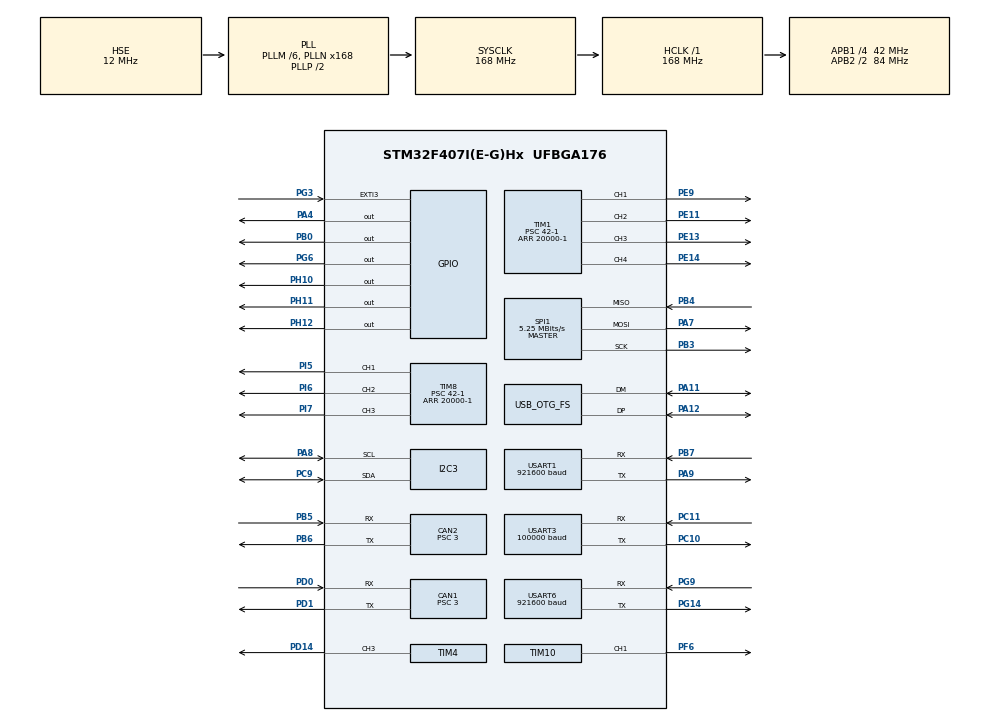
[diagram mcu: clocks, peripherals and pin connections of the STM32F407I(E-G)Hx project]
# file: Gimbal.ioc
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CAN1.BS1=CAN_BS1_10TQ
CAN1.BS2=CAN_BS2_3TQ
CAN1.CalculateBaudRate=1000000
CAN1.CalculateTimeBit=1000
CAN1.CalculateTimeQuantum=71.42857142857143
CAN1.Prescaler=3
CAN2.BS1=CAN_BS1_10TQ
CAN2.BS2=CAN_BS2_3TQ
CAN2.CalculateBaudRate=1000000
CAN2.CalculateTimeBit=1000
CAN2.CalculateTimeQuantum=71.42857142857143
CAN2.Prescaler=3
Dma.Request0=SPI1_RX
Dma.Request1=SPI1_TX
Dma.Request2=USART3_RX
Dma.Request3=USART6_RX
Dma.Request4=USART6_TX
Dma.Request5=USART1_RX
Dma.Request6=USART1_TX
Dma.SPI1_RX.0.Direction=DMA_PERIPH_TO_MEMORY
Dma.SPI1_RX.0.FIFOMode=DMA_FIFOMODE_DISABLE
Dma.SPI1_RX.0.Instance=DMA2_Stream0
Dma.SPI1_RX.0.MemDataAlignment=DMA_MDATAALIGN_BYTE
Dma.SPI1_RX.0.MemInc=DMA_MINC_ENABLE
Dma.SPI1_RX.0.Mode=DMA_NORMAL
Dma.SPI1_RX.0.PeriphDataAlignment=DMA_PDATAALIGN_BYTE
Dma.SPI1_RX.0.PeriphInc=DMA_PINC_DISABLE
Dma.SPI1_RX.0.Priority=DMA_PRIORITY_LOW
Dma.SPI1_TX.1.Direction=DMA_MEMORY_TO_PERIPH
Dma.SPI1_TX.1.FIFOMode=DMA_FIFOMODE_DISABLE
Dma.SPI1_TX.1.Instance=DMA2_Stream3
Dma.SPI1_TX.1.MemDataAlignment=DMA_MDATAALIGN_BYTE
Dma.SPI1_TX.1.MemInc=DMA_MINC_ENABLE
Dma.SPI1_TX.1.Mode=DMA_NORMAL
Dma.SPI1_TX.1.PeriphDataAlignment=DMA_PDATAALIGN_BYTE
Dma.SPI1_TX.1.PeriphInc=DMA_PINC_DISABLE
Dma.SPI1_TX.1.Priority=DMA_PRIORITY_LOW
Dma.USART1_RX.5.Direction=DMA_PERIPH_TO_MEMORY
Dma.USART1_RX.5.FIFOMode=DMA_FIFOMODE_DISABLE
Dma.USART1_RX.5.Instance=DMA2_Stream2
Dma.USART1_RX.5.MemDataAlignment=DMA_MDATAALIGN_BYTE
Dma.USART1_RX.5.MemInc=DMA_MINC_ENABLE
Dma.USART1_RX.5.Mode=DMA_NORMAL
Dma.USART1_RX.5.PeriphDataAlignment=DMA_PDATAALIGN_BYTE
Dma.USART1_RX.5.PeriphInc=DMA_PINC_DISABLE
Dma.USART1_RX.5.Priority=DMA_PRIORITY_LOW
Dma.USART1_TX.6.Direction=DMA_MEMORY_TO_PERIPH
Dma.USART1_TX.6.FIFOMode=DMA_FIFOMODE_DISABLE
Dma.USART1_TX.6.Instance=DMA2_Stream7
Dma.USART1_TX.6.MemDataAlignment=DMA_MDATAALIGN_BYTE
Dma.USART1_TX.6.MemInc=DMA_MINC_ENABLE
Dma.USART1_TX.6.Mode=DMA_NORMAL
Dma.USART1_TX.6.PeriphDataAlignment=DMA_PDATAALIGN_BYTE
Dma.USART1_TX.6.PeriphInc=DMA_PINC_DISABLE
Dma.USART1_TX.6.Priority=DMA_PRIORITY_LOW
Dma.USART3_RX.2.Direction=DMA_PERIPH_TO_MEMORY
Dma.USART3_RX.2.FIFOMode=DMA_FIFOMODE_DISABLE
Dma.USART3_RX.2.Instance=DMA1_Stream1
Dma.USART3_RX.2.MemDataAlignment=DMA_MDATAALIGN_BYTE
Dma.USART3_RX.2.MemInc=DMA_MINC_ENABLE
Dma.USART3_RX.2.Mode=DMA_CIRCULAR
Dma.USART3_RX.2.PeriphDataAlignment=DMA_PDATAALIGN_BYTE
Dma.USART3_RX.2.PeriphInc=DMA_PINC_DISABLE
Dma.USART3_RX.2.Priority=DMA_PRIORITY_VERY_HIGH
Dma.USART6_RX.3.Direction=DMA_PERIPH_TO_MEMORY
Dma.USART6_RX.3.FIFOMode=DMA_FIFOMODE_DISABLE
Dma.USART6_RX.3.Instance=DMA2_Stream1
Dma.USART6_RX.3.MemDataAlignment=DMA_MDATAALIGN_BYTE
Dma.USART6_RX.3.MemInc=DMA_MINC_ENABLE
Dma.USART6_RX.3.Mode=DMA_NORMAL
Dma.USART6_RX.3.PeriphDataAlignment=DMA_PDATAALIGN_BYTE
Dma.USART6_RX.3.PeriphInc=DMA_PINC_DISABLE
Dma.USART6_RX.3.Priority=DMA_PRIORITY_LOW
Dma.USART6_TX.4.Direction=DMA_MEMORY_TO_PERIPH
Dma.USART6_TX.4.FIFOMode=DMA_FIFOMODE_DISABLE
Dma.USART6_TX.4.Instance=DMA2_Stream6
Dma.USART6_TX.4.MemDataAlignment=DMA_MDATAALIGN_BYTE
Dma.USART6_TX.4.MemInc=DMA_MINC_ENABLE
Dma.USART6_TX.4.Mode=DMA_NORMAL
Dma.USART6_TX.4.PeriphDataAlignment=DMA_PDATAALIGN_BYTE
Dma.USART6_TX.4.PeriphInc=DMA_PINC_DISABLE
Dma.USART6_TX.4.Priority=DMA_PRIORITY_LOW
I2C3.I2C_Mode=I2C_Fast
Mcu.Family=STM32F4
Mcu.Name=STM32F407I(E-G)Hx
Mcu.Package=UFBGA176
NVIC.CAN1_RX0_IRQn=true\:0\:0\:false\:false\:true\:true\:true\:true
NVIC.CAN1_TX_IRQn=true\:0\:0\:false\:false\:true\:true\:true\:true
NVIC.CAN2_RX0_IRQn=true\:0\:0\:true\:false\:true\:true\:true\:true
NVIC.CAN2_TX_IRQn=true\:0\:0\:true\:false\:true\:true\:true\:true
NVIC.DMA1_Stream1_IRQn=true\:0\:0\:false\:false\:true\:false\:true\:true
NVIC.DMA2_Stream0_IRQn=true\:0\:0\:false\:false\:true\:false\:true\:true
NVIC.DMA2_Stream1_IRQn=true\:0\:0\:false\:false\:true\:false\:true\:true
NVIC.DMA2_Stream2_IRQn=true\:0\:0\:false\:false\:true\:false\:true\:true
NVIC.DMA2_Stream3_IRQn=true\:0\:0\:false\:false\:true\:false\:true\:true
NVIC.DMA2_Stream6_IRQn=true\:0\:0\:false\:false\:true\:false\:true\:true
NVIC.DMA2_Stream7_IRQn=true\:0\:0\:false\:false\:true\:false\:true\:true
NVIC.OTG_FS_IRQn=true\:0\:0\:false\:false\:true\:false\:true\:true
NVIC.PriorityGroup=NVIC_PRIORITYGROUP_4
NVIC.TIM2_IRQn=true\:0\:0\:true\:false\:true\:true\:true\:true
NVIC.USART1_IRQn=true\:0\:0\:false\:false\:true\:true\:true\:true
NVIC.USART3_IRQn=true\:0\:0\:true\:false\:true\:true\:true\:true
NVIC.USART6_IRQn=true\:0\:0\:false\:false\:true\:true\:true\:true
PA11.Mode=Device_Only
PA11.Signal=USB_OTG_FS_DM
PA12.Mode=Device_Only
PA12.Signal=USB_OTG_FS_DP
PA13.Mode=Serial_Wire
PA13.Signal=SYS_JTMS-SWDIO
PA14.Mode=Serial_Wire
PA14.Signal=SYS_JTCK-SWCLK
PA4.PinState=GPIO_PIN_SET
PA4.Signal=GPIO_Output
PA7.Mode=Full_Duplex_Master
PA7.Signal=SPI1_MOSI
PA8.Mode=I2C
PA8.Signal=I2C3_SCL
PA9.Mode=Asynchronous
PA9.Signal=USART1_TX
PB0.PinState=GPIO_PIN_SET
PB0.Signal=GPIO_Output
PB3.Mode=Full_Duplex_Master
PB3.Signal=SPI1_SCK
PB4.Mode=Full_Duplex_Master
PB4.Signal=SPI1_MISO
PB5.Mode=CAN_Activate
PB5.Signal=CAN2_RX
PB6.Mode=CAN_Activate
PB6.Signal=CAN2_TX
PB7.Mode=Asynchronous
PB7.Signal=USART1_RX
PC10.Mode=Asynchronous
PC10.Signal=USART3_TX
PC11.Mode=Asynchronous
PC11.Signal=USART3_RX
PC9.Mode=I2C
PC9.Signal=I2C3_SDA
PD0.Mode=CAN_Activate
PD0.Signal=CAN1_RX
PD1.Mode=CAN_Activate
PD1.Signal=CAN1_TX
PD14.Signal=S_TIM4_CH3
PE11.Signal=S_TIM1_CH2
PE13.Signal=S_TIM1_CH3
PE14.Signal=S_TIM1_CH4
PE9.Signal=S_TIM1_CH1
PF6.Signal=S_TIM10_CH1
PG14.Mode=Asynchronous
PG14.Signal=USART6_TX
PG3.GPIO_ModeDefaultEXTI=GPIO_MODE_IT_FALLING
PG3.GPIO_PuPd=GPIO_PULLUP
PG3.Signal=GPXTI3
PG6.GPIO_Speed=GPIO_SPEED_FREQ_MEDIUM
PG6.PinState=GPIO_PIN_SET
PG6.Signal=GPIO_Output
PG9.Mode=Asynchronous
PG9.Signal=USART6_RX
PH0-OSC_IN.Mode=HSE-External-Oscillator
PH0-OSC_IN.Signal=RCC_OSC_IN
PH1-OSC_OUT.Mode=HSE-External-Oscillator
PH1-OSC_OUT.Signal=RCC_OSC_OUT
PH10.PinState=GPIO_PIN_SET
PH10.Signal=GPIO_Output
PH11.PinState=GPIO_PIN_SET
PH11.Signal=GPIO_Output
PH12.PinState=GPIO_PIN_SET
PH12.Signal=GPIO_Output
PI5.Signal=S_TIM8_CH1
PI6.Signal=S_TIM8_CH2
PI7.Signal=S_TIM8_CH3
ProjectManager.HeapSize=0x4000
ProjectManager.StackSize=0x4000
ProjectManager.TargetToolchain=MDK-ARM V5
RCC.48MHZClocksFreq_Value=48000000
RCC.AHBFreq_Value=168000000
RCC.APB1CLKDivider=RCC_HCLK_DIV4
RCC.APB1Freq_Value=42000000
RCC.APB1TimFreq_Value=84000000
RCC.APB2CLKDivider=RCC_HCLK_DIV2
RCC.APB2Freq_Value=84000000
RCC.APB2TimFreq_Value=168000000
RCC.CortexFreq_Value=168000000
RCC.HCLKFreq_Value=168000000
RCC.HSE_VALUE=12000000
RCC.HSI_VALUE=16000000
RCC.LSE_VALUE=32768
RCC.PLLM=6
RCC.PLLN=168
RCC.PLLQ=7
RCC.SYSCLKFreq_VALUE=168000000
RCC.SYSCLKSource=RCC_SYSCLKSOURCE_PLLCLK
RCC.VCOOutputFreq_Value=336000000
SH.S_TIM10_CH1.0=TIM10_CH1,PWM Generation1 CH1
SH.S_TIM1_CH1.0=TIM1_CH1,PWM Generation1 CH1
SH.S_TIM1_CH2.0=TIM1_CH2,PWM Generation2 CH2
SH.S_TIM1_CH3.0=TIM1_CH3,PWM Generation3 CH3
SH.S_TIM1_CH4.0=TIM1_CH4,PWM Generation4 CH4
SH.S_TIM4_CH3.0=TIM4_CH3,PWM Generation3 CH3
SH.S_TIM8_CH1.0=TIM8_CH1,PWM Generation1 CH1
SH.S_TIM8_CH2.0=TIM8_CH2,PWM Generation2 CH2
SH.S_TIM8_CH3.0=TIM8_CH3,PWM Generation3 CH3
SPI1.BaudRatePrescaler=SPI_BAUDRATEPRESCALER_16
SPI1.CLKPhase=SPI_PHASE_2EDGE
SPI1.CLKPolarity=SPI_POLARITY_HIGH
SPI1.CalculateBaudRate=5.25 MBits/s
SPI1.Direction=SPI_DIRECTION_2LINES
SPI1.Mode=SPI_MODE_MASTER
SPI1.VirtualType=VM_MASTER
STMicroelectronics.X-CUBE-ALGOBUILD.1.4.0.LibraryCcDSPOoLibraryJjDSPOoLibrary=true
TIM1.Channel-PWM\ Generation1\ CH1=TIM_CHANNEL_1
TIM1.Channel-PWM\ Generation2\ CH2=TIM_CHANNEL_2
TIM1.Channel-PWM\ Generation3\ CH3=TIM_CHANNEL_3
TIM1.Channel-PWM\ Generation4\ CH4=TIM_CHANNEL_4
TIM1.Period=20000-1
TIM1.Prescaler=42-1
TIM1.Pulse-PWM\ Generation1\ CH1=2000
TIM1.Pulse-PWM\ Generation2\ CH2=2000
TIM1.Pulse-PWM\ Generation3\ CH3=2000
TIM1.Pulse-PWM\ Generation4\ CH4=2000
TIM10.Channel=TIM_CHANNEL_1
TIM10.Period=1000-1
TIM10.Prescaler=168-1
TIM2.AutoReloadPreload=TIM_AUTORELOAD_PRELOAD_ENABLE
TIM2.Period=1000-1
TIM2.Prescaler=84-1
TIM4.Channel-PWM\ Generation3\ CH3=TIM_CHANNEL_3
TIM4.Period=21000-1
TIM5.Period=65535
TIM8.Channel-PWM\ Generation1\ CH1=TIM_CHANNEL_1
TIM8.Channel-PWM\ Generation2\ CH2=TIM_CHANNEL_2
TIM8.Channel-PWM\ Generation3\ CH3=TIM_CHANNEL_3
TIM8.Period=20000-1
TIM8.Prescaler=42-1
TIM8.Pulse-PWM\ Generation1\ CH1=2000
TIM8.Pulse-PWM\ Generation2\ CH2=2000
USART1.BaudRate=921600
USART1.VirtualMode=VM_ASYNC
USART3.BaudRate=100000
USART3.Mode=MODE_RX
USART3.Parity=PARITY_EVEN
USART3.VirtualMode=VM_ASYNC
USART3.WordLength=WORDLENGTH_9B
USART6.BaudRate=921600
USART6.VirtualMode=VM_ASYNC
USB_DEVICE.CLASS_NAME_FS=CDC
USB_DEVICE.VirtualMode-CDC_FS=Cdc
USB_DEVICE.VirtualModeFS=Cdc_FS
USB_OTG_FS.VirtualMode=Device_Only
VP_CRC_VS_CRC.Mode=CRC_Activate
VP_STMicroelectronics.X-CUBE-ALGOBUILD_VS_DSPOoLibraryJjLibrary_1.4.0_1.4.0.Mode=DSPOoLibraryJjLibrary
VP_TIM10_VS_ClockSourceINT.Mode=Enable_Timer
VP_TIM1_VS_ClockSourceINT.Mode=Internal
VP_TIM2_VS_ClockSourceINT.Mode=Internal
VP_TIM5_VS_ClockSourceINT.Mode=Internal
VP_TIM8_VS_ClockSourceINT.Mode=Internal
VP_USB_DEVICE_VS_USB_DEVICE_CDC_FS.Mode=CDC_FS
board=custom

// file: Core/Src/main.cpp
/* USER CODE BEGIN Header */
/**
 ******************************************************************************
 * @file           : main.c
 * @brief          : Main program body
 ******************************************************************************
 * @attention
 *
 * Copyright (c) 2024 STMicroelectronics.
 * All rights reserved.
 *
 * This software is licensed under terms that can be found in the LICENSE file
 * in the root directory of this software component.
 * If no LICENSE file comes with this software, it is provided AS-IS.
 *
 ******************************************************************************
 */
/* USER CODE END Header */
#include "main.h"
#include "usb_device.h"

/* USER CODE BEGIN Includes */
#include "ChassisController.hpp"
#include "GimbalController.hpp"
#include "ShooterController.hpp"

#include "GMMotorHandler.hpp"
#include "Dr16.hpp"
#include "BoardConnectivity.hpp"
#include "BMI088.hpp"
#include "IST8310.hpp"

#include "IMU_Config.hpp"
#ifdef IMU_LIB_EKF_
#include "AHRS-EKF.hpp"
#elif defined(IMU_LIB_MOTION_FX_)
#include "AHRS-MFX.hpp"
#elif defined(IMU_LIB_ICM42688_)
#include "AHRS-ICM.hpp"
#else
#include "AHRS-MFX.hpp" // 默认实现
#endif

#include "Monitor.hpp"
#include "LED.hpp"

#include "bsp.hpp"

#include "stm32f4xx_it.h"
/* USER CODE END Includes */

CAN_HandleTypeDef hcan1;
CAN_HandleTypeDef hcan2;

CRC_HandleTypeDef hcrc;

I2C_HandleTypeDef hi2c3;

SPI_HandleTypeDef hspi1;
DMA_HandleTypeDef hdma_spi1_rx;
DMA_HandleTypeDef hdma_spi1_tx;

TIM_HandleTypeDef htim1;
TIM_HandleTypeDef htim2;
TIM_HandleTypeDef htim4;
TIM_HandleTypeDef htim5;
TIM_HandleTypeDef htim8;
TIM_HandleTypeDef htim10;

UART_HandleTypeDef huart1;
UART_HandleTypeDef huart3;
UART_HandleTypeDef huart6;
DMA_HandleTypeDef hdma_usart1_rx;
DMA_HandleTypeDef hdma_usart1_tx;
DMA_HandleTypeDef hdma_usart3_rx;
DMA_HandleTypeDef hdma_usart6_rx;
DMA_HandleTypeDef hdma_usart6_tx;

/* USER CODE BEGIN PV */
GMMotorHandler *GMmotorHandler = GMMotorHandler::instance();          // 电机控制
Dr16 *dr16 = Dr16::Instance();                                        // 靥控�?
BMI088 *bmi088 = BMI088::Instance();                                  // IMU
BoardConnectivity *boardConnectivity = BoardConnectivity::Instance(); // 板间通信
AHRS *ahrs = AHRS::Instance();                                        // 姿�?�解�?
Monitor *monitor = Monitor::Instance();                               // 监控

ChassisController *chassisController = ChassisController::Instance(); // 底盘控制
GimbalController *gimbalController = GimbalController::Instance();    // 云坰控制
ShooterController *shooterController = ShooterController::Instance(); // 坑射控制
/* USER CODE END PV */

void SystemClock_Config(void);
static void MX_GPIO_Init(void);
static void MX_DMA_Init(void);
static void MX_CAN1_Init(void);
static void MX_CAN2_Init(void);
static void MX_I2C3_Init(void);
static void MX_SPI1_Init(void);
static void MX_TIM1_Init(void);
static void MX_TIM2_Init(void);
static void MX_TIM4_Init(void);
static void MX_TIM5_Init(void);
static void MX_TIM8_Init(void);
static void MX_TIM10_Init(void);
static void MX_USART3_UART_Init(void);
static void MX_CRC_Init(void);
static void MX_USART6_UART_Init(void);
static void MX_USART1_UART_Init(void);
/* USER CODE BEGIN PFP */
void EnableSystickIT(void);
/* USER CODE END PFP */

/* USER CODE BEGIN 0 */

/**
 * @brief  使能SysTick中断
 * 将SysTick中断的频率设置为1000Hz
 */
void EnableSystickIT(void)
{
  uint32_t tick_ms = 1; // 1

  HAL_SYSTICK_CLKSourceConfig(SYSTICK_CLKSOURCE_HCLK_DIV8);

  uint32_t reload = SystemCoreClock / 8000 * tick_ms; // SystemCoreClock / 8000 * tick_ms;

  SysTick->CTRL |= SysTick_CTRL_TICKINT_Msk; // Enable SysTick Interrupt
  SysTick->LOAD = reload;
  SysTick->CTRL |= SysTick_CTRL_ENABLE_Msk; // Enable SysTick
}

/**
 * @brief  系统中断�?1ms
 * 代砝的主循环
 */
void SysTick_Handler(void)
{
  HAL_IncTick();
  // receive and update data
  // run control loop
  if (!monitor->Is_Robot_Init)
  {
    return;
  }

  dr16->Update();
  bmi088->update();

  chassisController->Run();
  gimbalController->Run();
  shooterController->Run();

  GMmotorHandler->sendControlData();
  boardConnectivity->BoardConnectivity_Send();

  monitor->Monitor_Run();
}

/* USER CODE END 0 */

int main(void)
{

  /* MCU Configuration--------------------------------------------------------*/

  /* Reset of all peripherals, Initializes the Flash interface and the Systick. */
  HAL_Init();

  /* Configure the system clock */
  SystemClock_Config();

  /* Initialize all configured peripherals */
  MX_GPIO_Init();
  MX_DMA_Init();
  MX_CAN1_Init();
  MX_CAN2_Init();
  MX_I2C3_Init();
  MX_SPI1_Init();
  MX_TIM1_Init();
  MX_TIM2_Init();
  MX_TIM4_Init();
  MX_TIM5_Init();
  MX_TIM8_Init();
  MX_TIM10_Init();
  MX_USART3_UART_Init();
  MX_CRC_Init();
  MX_USB_DEVICE_Init();
  MX_USART6_UART_Init();
  MX_USART1_UART_Init();
  /* USER CODE BEGIN 2 */
  bsp_init();

  monitor->Monitor_Init();
  bmi088->BMI088_INIT();
  // ???????????????????GimbalController???
  // ahrs->INS_Init();
  // HAL_TIM_Base_Start_IT(&htim2);

  boardConnectivity->Init();
  dr16->Dr16_Init();

  chassisController->Init();
  gimbalController->Init();
  shooterController->Init();

  EnableSystickIT(); // 使能SysTick中断
  LED_ALL_ON();
  monitor->Monitor_RobotFinishInit();
  /* USER CODE END 2 */

  /* Infinite loop */
  while (1)
  {

  }
}

void SystemClock_Config(void)
{
  RCC_OscInitTypeDef RCC_OscInitStruct = {0};
  RCC_ClkInitTypeDef RCC_ClkInitStruct = {0};

  /** Configure the main internal regulator output voltage
  */
  __HAL_RCC_PWR_CLK_ENABLE();
  __HAL_PWR_VOLTAGESCALING_CONFIG(PWR_REGULATOR_VOLTAGE_SCALE1);

  /** Initializes the RCC Oscillators according to the specified parameters
  * in the RCC_OscInitTypeDef structure.
  */
  RCC_OscInitStruct.OscillatorType = RCC_OSCILLATORTYPE_HSE;
  RCC_OscInitStruct.HSEState = RCC_HSE_ON;
  RCC_OscInitStruct.PLL.PLLState = RCC_PLL_ON;
  RCC_OscInitStruct.PLL.PLLSource = RCC_PLLSOURCE_HSE;
  RCC_OscInitStruct.PLL.PLLM = 6;
  RCC_OscInitStruct.PLL.PLLN = 168;
  RCC_OscInitStruct.PLL.PLLP = RCC_PLLP_DIV2;
  RCC_OscInitStruct.PLL.PLLQ = 7;
  if (HAL_RCC_OscConfig(&RCC_OscInitStruct) != HAL_OK)
  {
    Error_Handler();
  }

  /** Initializes the CPU, AHB and APB buses clocks
  */
  RCC_ClkInitStruct.ClockType = RCC_CLOCKTYPE_HCLK|RCC_CLOCKTYPE_SYSCLK
                              |RCC_CLOCKTYPE_PCLK1|RCC_CLOCKTYPE_PCLK2;
  RCC_ClkInitStruct.SYSCLKSource = RCC_SYSCLKSOURCE_PLLCLK;
  RCC_ClkInitStruct.AHBCLKDivider = RCC_SYSCLK_DIV1;
  RCC_ClkInitStruct.APB1CLKDivider = RCC_HCLK_DIV4;
  RCC_ClkInitStruct.APB2CLKDivider = RCC_HCLK_DIV2;

  if (HAL_RCC_ClockConfig(&RCC_ClkInitStruct, FLASH_LATENCY_5) != HAL_OK)
  {
    Error_Handler();
  }
}

static void MX_CAN1_Init(void)
{

  hcan1.Instance = CAN1;
  hcan1.Init.Prescaler = 3;
  hcan1.Init.Mode = CAN_MODE_NORMAL;
  hcan1.Init.SyncJumpWidth = CAN_SJW_1TQ;
  hcan1.Init.TimeSeg1 = CAN_BS1_10TQ;
  hcan1.Init.TimeSeg2 = CAN_BS2_3TQ;
  hcan1.Init.TimeTriggeredMode = DISABLE;
  hcan1.Init.AutoBusOff = DISABLE;
  hcan1.Init.AutoWakeUp = DISABLE;
  hcan1.Init.AutoRetransmission = DISABLE;
  hcan1.Init.ReceiveFifoLocked = DISABLE;
  hcan1.Init.TransmitFifoPriority = DISABLE;
  if (HAL_CAN_Init(&hcan1) != HAL_OK)
  {
    Error_Handler();
  }

}

static void MX_CAN2_Init(void)
{

  hcan2.Instance = CAN2;
  hcan2.Init.Prescaler = 3;
  hcan2.Init.Mode = CAN_MODE_NORMAL;
  hcan2.Init.SyncJumpWidth = CAN_SJW_1TQ;
  hcan2.Init.TimeSeg1 = CAN_BS1_10TQ;
  hcan2.Init.TimeSeg2 = CAN_BS2_3TQ;
  hcan2.Init.TimeTriggeredMode = DISABLE;
  hcan2.Init.AutoBusOff = DISABLE;
  hcan2.Init.AutoWakeUp = DISABLE;
  hcan2.Init.AutoRetransmission = DISABLE;
  hcan2.Init.ReceiveFifoLocked = DISABLE;
  hcan2.Init.TransmitFifoPriority = DISABLE;
  if (HAL_CAN_Init(&hcan2) != HAL_OK)
  {
    Error_Handler();
  }

}

static void MX_CRC_Init(void)
{

  hcrc.Instance = CRC;
  if (HAL_CRC_Init(&hcrc) != HAL_OK)
  {
    Error_Handler();
  }

}

static void MX_I2C3_Init(void)
{

  hi2c3.Instance = I2C3;
  hi2c3.Init.ClockSpeed = 400000;
  hi2c3.Init.DutyCycle = I2C_DUTYCYCLE_2;
  hi2c3.Init.OwnAddress1 = 0;
  hi2c3.Init.AddressingMode = I2C_ADDRESSINGMODE_7BIT;
  hi2c3.Init.DualAddressMode = I2C_DUALADDRESS_DISABLE;
  hi2c3.Init.OwnAddress2 = 0;
  hi2c3.Init.GeneralCallMode = I2C_GENERALCALL_DISABLE;
  hi2c3.Init.NoStretchMode = I2C_NOSTRETCH_DISABLE;
  if (HAL_I2C_Init(&hi2c3) != HAL_OK)
  {
    Error_Handler();
  }

}

static void MX_SPI1_Init(void)
{

  /* SPI1 parameter configuration*/
  hspi1.Instance = SPI1;
  hspi1.Init.Mode = SPI_MODE_MASTER;
  hspi1.Init.Direction = SPI_DIRECTION_2LINES;
  hspi1.Init.DataSize = SPI_DATASIZE_8BIT;
  hspi1.Init.CLKPolarity = SPI_POLARITY_HIGH;
  hspi1.Init.CLKPhase = SPI_PHASE_2EDGE;
  hspi1.Init.NSS = SPI_NSS_SOFT;
  hspi1.Init.BaudRatePrescaler = SPI_BAUDRATEPRESCALER_16;
  hspi1.Init.FirstBit = SPI_FIRSTBIT_MSB;
  hspi1.Init.TIMode = SPI_TIMODE_DISABLE;
  hspi1.Init.CRCCalculation = SPI_CRCCALCULATION_DISABLE;
  hspi1.Init.CRCPolynomial = 10;
  if (HAL_SPI_Init(&hspi1) != HAL_OK)
  {
    Error_Handler();
  }

}

static void MX_TIM1_Init(void)
{

  TIM_ClockConfigTypeDef sClockSourceConfig = {0};
  TIM_MasterConfigTypeDef sMasterConfig = {0};
  TIM_OC_InitTypeDef sConfigOC = {0};
  TIM_BreakDeadTimeConfigTypeDef sBreakDeadTimeConfig = {0};

  htim1.Instance = TIM1;
  htim1.Init.Prescaler = 42-1;
  htim1.Init.CounterMode = TIM_COUNTERMODE_UP;
  htim1.Init.Period = 20000-1;
  htim1.Init.ClockDivision = TIM_CLOCKDIVISION_DIV1;
  htim1.Init.RepetitionCounter = 0;
  htim1.Init.AutoReloadPreload = TIM_AUTORELOAD_PRELOAD_DISABLE;
  if (HAL_TIM_Base_Init(&htim1) != HAL_OK)
  {
    Error_Handler();
  }
  sClockSourceConfig.ClockSource = TIM_CLOCKSOURCE_INTERNAL;
  if (HAL_TIM_ConfigClockSource(&htim1, &sClockSourceConfig) != HAL_OK)
  {
    Error_Handler();
  }
  if (HAL_TIM_PWM_Init(&htim1) != HAL_OK)
  {
    Error_Handler();
  }
  sMasterConfig.MasterOutputTrigger = TIM_TRGO_RESET;
  sMasterConfig.MasterSlaveMode = TIM_MASTERSLAVEMODE_DISABLE;
  if (HAL_TIMEx_MasterConfigSynchronization(&htim1, &sMasterConfig) != HAL_OK)
  {
    Error_Handler();
  }
  sConfigOC.OCMode = TIM_OCMODE_PWM1;
  sConfigOC.Pulse = 2000;
  sConfigOC.OCPolarity = TIM_OCPOLARITY_HIGH;
  sConfigOC.OCNPolarity = TIM_OCNPOLARITY_HIGH;
  sConfigOC.OCFastMode = TIM_OCFAST_DISABLE;
  sConfigOC.OCIdleState = TIM_OCIDLESTATE_RESET;
  sConfigOC.OCNIdleState = TIM_OCNIDLESTATE_RESET;
  if (HAL_TIM_PWM_ConfigChannel(&htim1, &sConfigOC, TIM_CHANNEL_1) != HAL_OK)
  {
    Error_Handler();
  }
  if (HAL_TIM_PWM_ConfigChannel(&htim1, &sConfigOC, TIM_CHANNEL_2) != HAL_OK)
  {
    Error_Handler();
  }
  if (HAL_TIM_PWM_ConfigChannel(&htim1, &sConfigOC, TIM_CHANNEL_3) != HAL_OK)
  {
    Error_Handler();
  }
  if (HAL_TIM_PWM_ConfigChannel(&htim1, &sConfigOC, TIM_CHANNEL_4) != HAL_OK)
  {
    Error_Handler();
  }
  sBreakDeadTimeConfig.OffStateRunMode = TIM_OSSR_DISABLE;
  sBreakDeadTimeConfig.OffStateIDLEMode = TIM_OSSI_DISABLE;
  sBreakDeadTimeConfig.LockLevel = TIM_LOCKLEVEL_OFF;
  sBreakDeadTimeConfig.DeadTime = 0;
  sBreakDeadTimeConfig.BreakState = TIM_BREAK_DISABLE;
  sBreakDeadTimeConfig.BreakPolarity = TIM_BREAKPOLARITY_HIGH;
  sBreakDeadTimeConfig.AutomaticOutput = TIM_AUTOMATICOUTPUT_DISABLE;
  if (HAL_TIMEx_ConfigBreakDeadTime(&htim1, &sBreakDeadTimeConfig) != HAL_OK)
  {
    Error_Handler();
  }
  HAL_TIM_MspPostInit(&htim1);

}

static void MX_TIM2_Init(void)
{

  TIM_ClockConfigTypeDef sClockSourceConfig = {0};
  TIM_MasterConfigTypeDef sMasterConfig = {0};

  htim2.Instance = TIM2;
  htim2.Init.Prescaler = 84-1;
  htim2.Init.CounterMode = TIM_COUNTERMODE_UP;
  htim2.Init.Period = 1000-1;
  htim2.Init.ClockDivision = TIM_CLOCKDIVISION_DIV1;
  htim2.Init.AutoReloadPreload = TIM_AUTORELOAD_PRELOAD_ENABLE;
  if (HAL_TIM_Base_Init(&htim2) != HAL_OK)
  {
    Error_Handler();
  }
  sClockSourceConfig.ClockSource = TIM_CLOCKSOURCE_INTERNAL;
  if (HAL_TIM_ConfigClockSource(&htim2, &sClockSourceConfig) != HAL_OK)
  {
    Error_Handler();
  }
  sMasterConfig.MasterOutputTrigger = TIM_TRGO_RESET;
  sMasterConfig.MasterSlaveMode = TIM_MASTERSLAVEMODE_DISABLE;
  if (HAL_TIMEx_MasterConfigSynchronization(&htim2, &sMasterConfig) != HAL_OK)
  {
    Error_Handler();
  }

}

static void MX_TIM4_Init(void)
{

  TIM_MasterConfigTypeDef sMasterConfig = {0};
  TIM_OC_InitTypeDef sConfigOC = {0};

  htim4.Instance = TIM4;
  htim4.Init.Prescaler = 0;
  htim4.Init.CounterMode = TIM_COUNTERMODE_UP;
  htim4.Init.Period = 21000-1;
  htim4.Init.ClockDivision = TIM_CLOCKDIVISION_DIV1;
  htim4.Init.AutoReloadPreload = TIM_AUTORELOAD_PRELOAD_DISABLE;
  if (HAL_TIM_PWM_Init(&htim4) != HAL_OK)
  {
    Error_Handler();
  }
  sMasterConfig.MasterOutputTrigger = TIM_TRGO_RESET;
  sMasterConfig.MasterSlaveMode = TIM_MASTERSLAVEMODE_DISABLE;
  if (HAL_TIMEx_MasterConfigSynchronization(&htim4, &sMasterConfig) != HAL_OK)
  {
    Error_Handler();
  }
  sConfigOC.OCMode = TIM_OCMODE_PWM1;
  sConfigOC.Pulse = 0;
  sConfigOC.OCPolarity = TIM_OCPOLARITY_HIGH;
  sConfigOC.OCFastMode = TIM_OCFAST_DISABLE;
  if (HAL_TIM_PWM_ConfigChannel(&htim4, &sConfigOC, TIM_CHANNEL_3) != HAL_OK)
  {
    Error_Handler();
  }
  HAL_TIM_MspPostInit(&htim4);

}

static void MX_TIM5_Init(void)
{

  TIM_ClockConfigTypeDef sClockSourceConfig = {0};
  TIM_MasterConfigTypeDef sMasterConfig = {0};

  htim5.Instance = TIM5;
  htim5.Init.Prescaler = 0;
  htim5.Init.CounterMode = TIM_COUNTERMODE_UP;
  htim5.Init.Period = 65535;
  htim5.Init.ClockDivision = TIM_CLOCKDIVISION_DIV1;
  htim5.Init.AutoReloadPreload = TIM_AUTORELOAD_PRELOAD_DISABLE;
  if (HAL_TIM_Base_Init(&htim5) != HAL_OK)
  {
    Error_Handler();
  }
  sClockSourceConfig.ClockSource = TIM_CLOCKSOURCE_INTERNAL;
  if (HAL_TIM_ConfigClockSource(&htim5, &sClockSourceConfig) != HAL_OK)
  {
    Error_Handler();
  }
  sMasterConfig.MasterOutputTrigger = TIM_TRGO_RESET;
  sMasterConfig.MasterSlaveMode = TIM_MASTERSLAVEMODE_DISABLE;
  if (HAL_TIMEx_MasterConfigSynchronization(&htim5, &sMasterConfig) != HAL_OK)
  {
    Error_Handler();
  }

}

static void MX_TIM8_Init(void)
{

  TIM_ClockConfigTypeDef sClockSourceConfig = {0};
  TIM_MasterConfigTypeDef sMasterConfig = {0};
  TIM_OC_InitTypeDef sConfigOC = {0};
  TIM_BreakDeadTimeConfigTypeDef sBreakDeadTimeConfig = {0};

  htim8.Instance = TIM8;
  htim8.Init.Prescaler = 42-1;
  htim8.Init.CounterMode = TIM_COUNTERMODE_UP;
  htim8.Init.Period = 20000-1;
  htim8.Init.ClockDivision = TIM_CLOCKDIVISION_DIV1;
  htim8.Init.RepetitionCounter = 0;
  htim8.Init.AutoReloadPreload = TIM_AUTORELOAD_PRELOAD_DISABLE;
  if (HAL_TIM_Base_Init(&htim8) != HAL_OK)
  {
    Error_Handler();
  }
  sClockSourceConfig.ClockSource = TIM_CLOCKSOURCE_INTERNAL;
  if (HAL_TIM_ConfigClockSource(&htim8, &sClockSourceConfig) != HAL_OK)
  {
    Error_Handler();
  }
  if (HAL_TIM_PWM_Init(&htim8) != HAL_OK)
  {
    Error_Handler();
  }
  sMasterConfig.MasterOutputTrigger = TIM_TRGO_RESET;
  sMasterConfig.MasterSlaveMode = TIM_MASTERSLAVEMODE_DISABLE;
  if (HAL_TIMEx_MasterConfigSynchronization(&htim8, &sMasterConfig) != HAL_OK)
  {
    Error_Handler();
  }
  sConfigOC.OCMode = TIM_OCMODE_PWM1;
  sConfigOC.Pulse = 2000;
  sConfigOC.OCPolarity = TIM_OCPOLARITY_HIGH;
  sConfigOC.OCNPolarity = TIM_OCNPOLARITY_HIGH;
  sConfigOC.OCFastMode = TIM_OCFAST_DISABLE;
  sConfigOC.OCIdleState = TIM_OCIDLESTATE_RESET;
  sConfigOC.OCNIdleState = TIM_OCNIDLESTATE_RESET;
  if (HAL_TIM_PWM_ConfigChannel(&htim8, &sConfigOC, TIM_CHANNEL_1) != HAL_OK)
  {
    Error_Handler();
  }
  if (HAL_TIM_PWM_ConfigChannel(&htim8, &sConfigOC, TIM_CHANNEL_2) != HAL_OK)
  {
    Error_Handler();
  }
  sConfigOC.Pulse = 0;
  if (HAL_TIM_PWM_ConfigChannel(&htim8, &sConfigOC, TIM_CHANNEL_3) != HAL_OK)
  {
    Error_Handler();
  }
  sBreakDeadTimeConfig.OffStateRunMode = TIM_OSSR_DISABLE;
  sBreakDeadTimeConfig.OffStateIDLEMode = TIM_OSSI_DISABLE;
  sBreakDeadTimeConfig.LockLevel = TIM_LOCKLEVEL_OFF;
  sBreakDeadTimeConfig.DeadTime = 0;
  sBreakDeadTimeConfig.BreakState = TIM_BREAK_DISABLE;
  sBreakDeadTimeConfig.BreakPolarity = TIM_BREAKPOLARITY_HIGH;
  sBreakDeadTimeConfig.AutomaticOutput = TIM_AUTOMATICOUTPUT_DISABLE;
  if (HAL_TIMEx_ConfigBreakDeadTime(&htim8, &sBreakDeadTimeConfig) != HAL_OK)
  {
    Error_Handler();
  }
  HAL_TIM_MspPostInit(&htim8);

}

static void MX_TIM10_Init(void)
{

  TIM_OC_InitTypeDef sConfigOC = {0};

  htim10.Instance = TIM10;
  htim10.Init.Prescaler = 168-1;
  htim10.Init.CounterMode = TIM_COUNTERMODE_UP;
  htim10.Init.Period = 1000-1;
  htim10.Init.ClockDivision = TIM_CLOCKDIVISION_DIV1;
  htim10.Init.AutoReloadPreload = TIM_AUTORELOAD_PRELOAD_DISABLE;
  if (HAL_TIM_Base_Init(&htim10) != HAL_OK)
  {
    Error_Handler();
  }
  if (HAL_TIM_PWM_Init(&htim10) != HAL_OK)
  {
    Error_Handler();
  }
  sConfigOC.OCMode = TIM_OCMODE_PWM1;
  sConfigOC.Pulse = 0;
  sConfigOC.OCPolarity = TIM_OCPOLARITY_HIGH;
  sConfigOC.OCFastMode = TIM_OCFAST_DISABLE;
  if (HAL_TIM_PWM_ConfigChannel(&htim10, &sConfigOC, TIM_CHANNEL_1) != HAL_OK)
  {
    Error_Handler();
  }
  HAL_TIM_MspPostInit(&htim10);

}

static void MX_USART1_UART_Init(void)
{

  huart1.Instance = USART1;
  huart1.Init.BaudRate = 921600;
  huart1.Init.WordLength = UART_WORDLENGTH_8B;
  huart1.Init.StopBits = UART_STOPBITS_1;
  huart1.Init.Parity = UART_PARITY_NONE;
  huart1.Init.Mode = UART_MODE_TX_RX;
  huart1.Init.HwFlowCtl = UART_HWCONTROL_NONE;
  huart1.Init.OverSampling = UART_OVERSAMPLING_16;
  if (HAL_UART_Init(&huart1) != HAL_OK)
  {
    Error_Handler();
  }

}

static void MX_USART3_UART_Init(void)
{

  huart3.Instance = USART3;
  huart3.Init.BaudRate = 100000;
  huart3.Init.WordLength = UART_WORDLENGTH_9B;
  huart3.Init.StopBits = UART_STOPBITS_1;
  huart3.Init.Parity = UART_PARITY_EVEN;
  huart3.Init.Mode = UART_MODE_RX;
  huart3.Init.HwFlowCtl = UART_HWCONTROL_NONE;
  huart3.Init.OverSampling = UART_OVERSAMPLING_16;
  if (HAL_UART_Init(&huart3) != HAL_OK)
  {
    Error_Handler();
  }

}

static void MX_USART6_UART_Init(void)
{

  huart6.Instance = USART6;
  huart6.Init.BaudRate = 921600;
  huart6.Init.WordLength = UART_WORDLENGTH_8B;
  huart6.Init.StopBits = UART_STOPBITS_1;
  huart6.Init.Parity = UART_PARITY_NONE;
  huart6.Init.Mode = UART_MODE_TX_RX;
  huart6.Init.HwFlowCtl = UART_HWCONTROL_NONE;
  huart6.Init.OverSampling = UART_OVERSAMPLING_16;
  if (HAL_UART_Init(&huart6) != HAL_OK)
  {
    Error_Handler();
  }

}

static void MX_DMA_Init(void)
{

  /* DMA controller clock enable */
  __HAL_RCC_DMA2_CLK_ENABLE();
  __HAL_RCC_DMA1_CLK_ENABLE();

  /* DMA interrupt init */
  /* DMA1_Stream1_IRQn interrupt configuration */
  HAL_NVIC_SetPriority(DMA1_Stream1_IRQn, 0, 0);
  HAL_NVIC_EnableIRQ(DMA1_Stream1_IRQn);
  /* DMA2_Stream0_IRQn interrupt configuration */
  HAL_NVIC_SetPriority(DMA2_Stream0_IRQn, 0, 0);
  HAL_NVIC_EnableIRQ(DMA2_Stream0_IRQn);
  /* DMA2_Stream1_IRQn interrupt configuration */
  HAL_NVIC_SetPriority(DMA2_Stream1_IRQn, 0, 0);
  HAL_NVIC_EnableIRQ(DMA2_Stream1_IRQn);
  /* DMA2_Stream2_IRQn interrupt configuration */
  HAL_NVIC_SetPriority(DMA2_Stream2_IRQn, 0, 0);
  HAL_NVIC_EnableIRQ(DMA2_Stream2_IRQn);
  /* DMA2_Stream3_IRQn interrupt configuration */
  HAL_NVIC_SetPriority(DMA2_Stream3_IRQn, 0, 0);
  HAL_NVIC_EnableIRQ(DMA2_Stream3_IRQn);
  /* DMA2_Stream6_IRQn interrupt configuration */
  HAL_NVIC_SetPriority(DMA2_Stream6_IRQn, 0, 0);
  HAL_NVIC_EnableIRQ(DMA2_Stream6_IRQn);
  /* DMA2_Stream7_IRQn interrupt configuration */
  HAL_NVIC_SetPriority(DMA2_Stream7_IRQn, 0, 0);
  HAL_NVIC_EnableIRQ(DMA2_Stream7_IRQn);

}

static void MX_GPIO_Init(void)
{
  GPIO_InitTypeDef GPIO_InitStruct = {0};

  /* GPIO Ports Clock Enable */
  __HAL_RCC_GPIOB_CLK_ENABLE();
  __HAL_RCC_GPIOG_CLK_ENABLE();
  __HAL_RCC_GPIOA_CLK_ENABLE();
  __HAL_RCC_GPIOD_CLK_ENABLE();
  __HAL_RCC_GPIOC_CLK_ENABLE();
  __HAL_RCC_GPIOI_CLK_ENABLE();
  __HAL_RCC_GPIOH_CLK_ENABLE();
  __HAL_RCC_GPIOF_CLK_ENABLE();
  __HAL_RCC_GPIOE_CLK_ENABLE();

  /*Configure GPIO pin Output Level */
  HAL_GPIO_WritePin(GPIOG, GPIO_PIN_6, GPIO_PIN_SET);

  /*Configure GPIO pin Output Level */
  HAL_GPIO_WritePin(GPIOH, GPIO_PIN_12|GPIO_PIN_11|GPIO_PIN_10, GPIO_PIN_SET);

  /*Configure GPIO pin Output Level */
  HAL_GPIO_WritePin(GPIOA, GPIO_PIN_4, GPIO_PIN_SET);

  /*Configure GPIO pin Output Level */
  HAL_GPIO_WritePin(GPIOB, GPIO_PIN_0, GPIO_PIN_SET);

  /*Configure GPIO pin : PG6 */
  GPIO_InitStruct.Pin = GPIO_PIN_6;
  GPIO_InitStruct.Mode = GPIO_MODE_OUTPUT_PP;
  GPIO_InitStruct.Pull = GPIO_NOPULL;
  GPIO_InitStruct.Speed = GPIO_SPEED_FREQ_MEDIUM;
  HAL_GPIO_Init(GPIOG, &GPIO_InitStruct);

  /*Configure GPIO pins : PH12 PH11 PH10 */
  GPIO_InitStruct.Pin = GPIO_PIN_12|GPIO_PIN_11|GPIO_PIN_10;
  GPIO_InitStruct.Mode = GPIO_MODE_OUTPUT_PP;
  GPIO_InitStruct.Pull = GPIO_NOPULL;
  GPIO_InitStruct.Speed = GPIO_SPEED_FREQ_LOW;
  HAL_GPIO_Init(GPIOH, &GPIO_InitStruct);

  /*Configure GPIO pin : PG3 */
  GPIO_InitStruct.Pin = GPIO_PIN_3;
  GPIO_InitStruct.Mode = GPIO_MODE_IT_FALLING;
  GPIO_InitStruct.Pull = GPIO_PULLUP;
  HAL_GPIO_Init(GPIOG, &GPIO_InitStruct);

  /*Configure GPIO pin : PA4 */
  GPIO_InitStruct.Pin = GPIO_PIN_4;
  GPIO_InitStruct.Mode = GPIO_MODE_OUTPUT_PP;
  GPIO_InitStruct.Pull = GPIO_NOPULL;
  GPIO_InitStruct.Speed = GPIO_SPEED_FREQ_LOW;
  HAL_GPIO_Init(GPIOA, &GPIO_InitStruct);

  /*Configure GPIO pin : PB0 */
  GPIO_InitStruct.Pin = GPIO_PIN_0;
  GPIO_InitStruct.Mode = GPIO_MODE_OUTPUT_PP;
  GPIO_InitStruct.Pull = GPIO_NOPULL;
  GPIO_InitStruct.Speed = GPIO_SPEED_FREQ_LOW;
  HAL_GPIO_Init(GPIOB, &GPIO_InitStruct);

}

void Error_Handler(void)
{
  __disable_irq();
  while (1)
  {
  }
}
